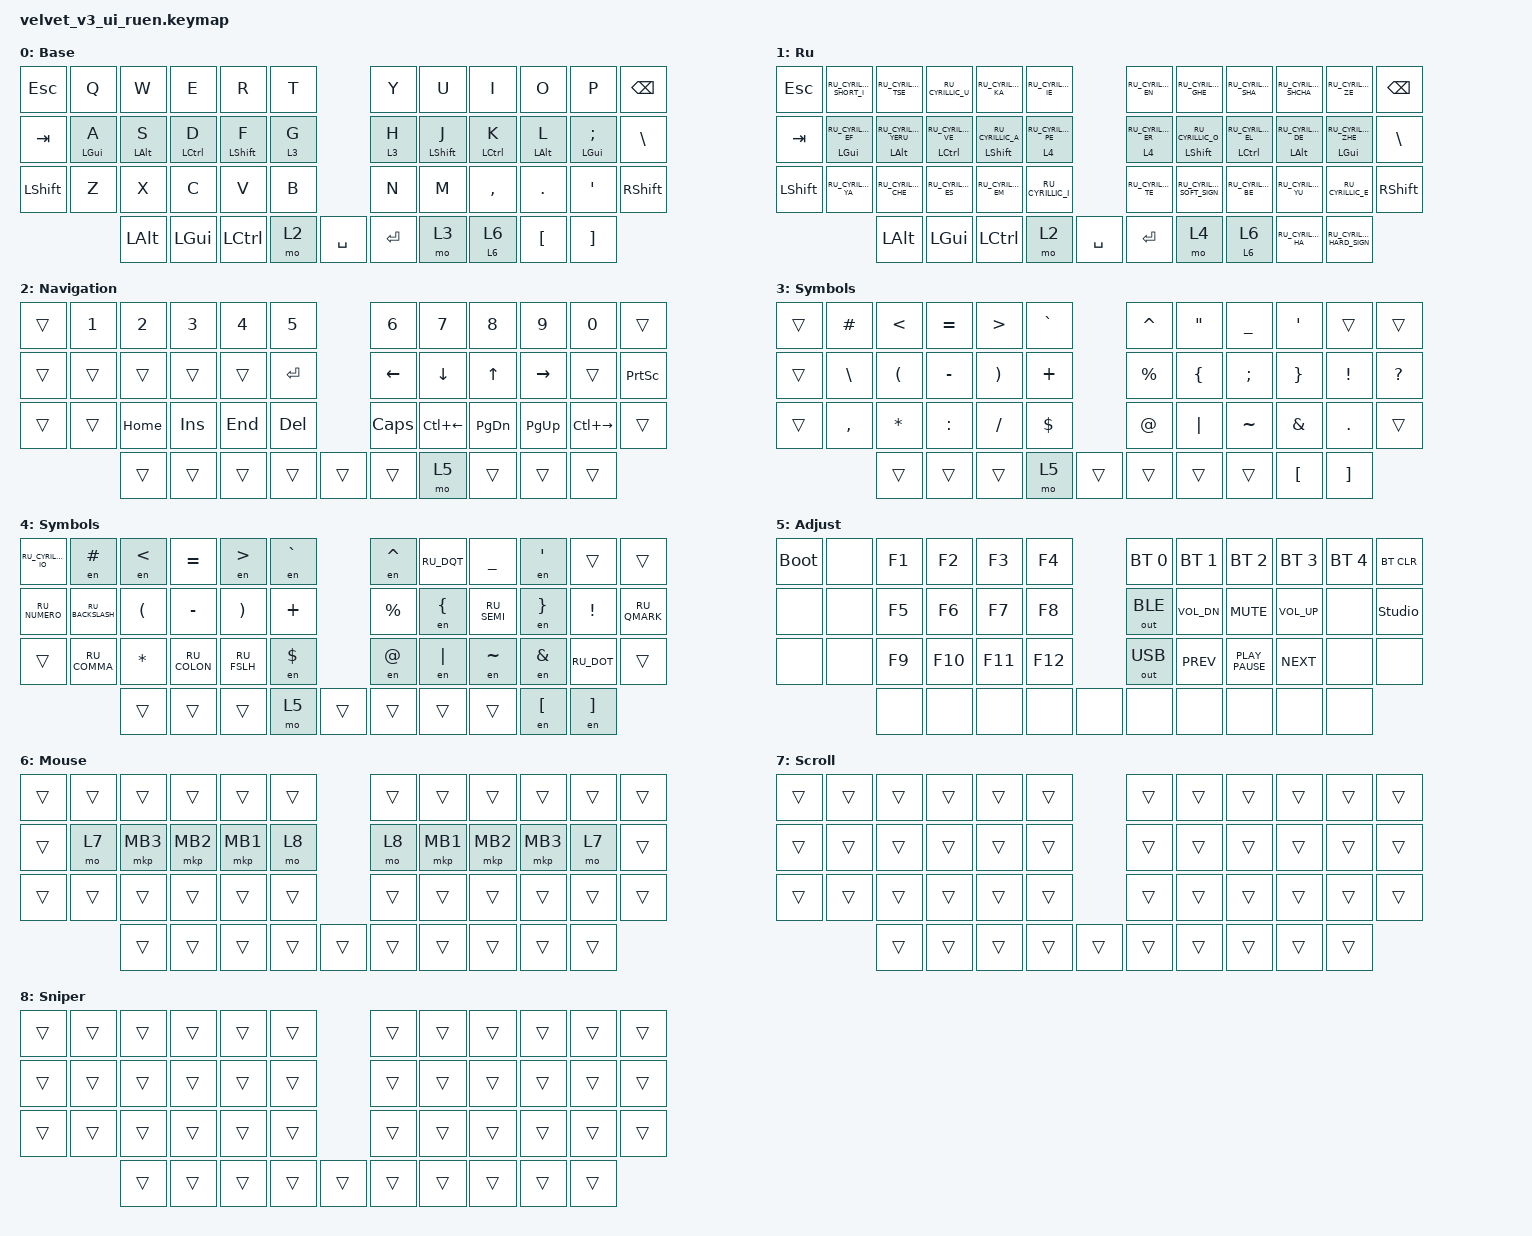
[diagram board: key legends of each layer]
#include "keys_ru.h"
#include <dt-bindings/zmk/input_transform.h>
#include <input/processors.dtsi>
#include <zephyr/dt-bindings/input/input-event-codes.h>
#include <behaviors.dtsi>
#include <dt-bindings/zmk/bt.h>
#include <dt-bindings/zmk/keys.h>
#include <dt-bindings/zmk/outputs.h>
#include <dt-bindings/zmk/pointing.h>

&mmv { acceleration-exponent = <800>; };

/ {
    behaviors {
        cap_sen: cap_sen {
            compatible = "zmk,behavior-hold-tap";
            label = "CAP_SEN";
            bindings = <&mo>, <&mo>;

            #binding-cells = <2>;
            tapping-term-ms = <150>;
            hold-while-undecided;
        };

        hrm: hrm {
            compatible = "zmk,behavior-hold-tap";
            label = "HRM";
            bindings = <&kp>, <&kp>;

            #binding-cells = <2>;
            tapping-term-ms = <200>;
            flavor = "balanced";
        };

        hrm_for_layer: hrm_for_layer {
            compatible = "zmk,behavior-hold-tap";
            label = "HRM_FOR_LAYER";
            bindings = <&mo>, <&kp>;

            #binding-cells = <2>;
            tapping-term-ms = <200>;
            flavor = "balanced";
        };
    };

    combos {
        compatible = "zmk,combos";

        cmben {
            bindings = <&layer_en>;
            key-positions = <7 8>;
            layers = <1>;
        };

        cmbru {
            bindings = <&layer_ru>;
            key-positions = <3 4>;
            layers = <0>;
        };
    };

    macros {
        to_ru: to_ru {
            compatible = "zmk,behavior-macro";
            #binding-cells = <0>;
            bindings = <&kp LS(LC(N2))>;
            label = "TO_RU";
            wait-ms = <0>;
            tap-ms = <30>;
        };

        to_en: to_en {
            compatible = "zmk,behavior-macro";
            #binding-cells = <0>;
            bindings = <&kp LS(LC(N1))>;
            label = "TO_EN";
            wait-ms = <0>;
            tap-ms = <30>;
        };

        layer_en: layer_en {
            compatible = "zmk,behavior-macro";
            #binding-cells = <0>;
            bindings = <&to 0 &to_en>;
            label = "LAYER_EN";
            wait-ms = <0>;
            tap-ms = <30>;
        };

        layer_ru: layer_ru {
            compatible = "zmk,behavior-macro";
            #binding-cells = <0>;
            bindings = <&to 1 &to_ru>;
            label = "LAYER_RU";
            tap-ms = <30>;
            wait-ms = <0>;
        };

        en: en {
            compatible = "zmk,behavior-macro-one-param";
            #binding-cells = <1>;
            bindings =
                <&to_en>,
                <&macro_press>,
                <&macro_param_1to1 &kp MACRO_PLACEHOLDER>,
                <&macro_pause_for_release>,
                <&macro_release>,
                <&macro_param_1to1 &kp MACRO_PLACEHOLDER>,
                <&macro_tap>,
                <&to_ru>;

            label = "EN";
            wait-ms = <0>;
            tap-ms = <30>;
        };
    };

    keymap {
        compatible = "zmk,keymap";

        en {
            bindings = <
&kp ESC    &kp Q            &kp W            &kp E         &kp R              &kp T                                     &kp Y               &kp U              &kp I         &kp O            &kp P               &kp BSPC
&kp TAB    &hrm LEFT_GUI A  &hrm LEFT_ALT S  &hrm LCTRL D  &hrm LEFT_SHIFT F  &hrm_for_layer 3 G                        &hrm_for_layer 3 H  &hrm LEFT_SHIFT J  &hrm LCTRL K  &hrm LEFT_ALT L  &hrm LEFT_GUI SEMI  &kp BSLH
&kp LSHFT  &kp Z            &kp X            &kp C         &kp V              &kp B                                     &kp N               &kp M              &kp COMMA     &kp DOT          &kp SQT             &kp RSHFT
                            &kp LALT         &kp LGUI      &kp LCTRL          &mo 2               &kp SPACE    &kp RET  &mo 3               &cap_sen 6 6       &kp LBKT      &kp RBKT
            >;

            display-name = "Base";
        };

        ru {
            display-name = "Ru";
            bindings = <
&kp ESC    &kp RU_CYRILLIC_SHORT_I       &kp RU_CYRILLIC_TSE             &kp RU_CYRILLIC_U          &kp RU_CYRILLIC_KA             &kp RU_CYRILLIC_IE                                     &kp RU_CYRILLIC_EN               &kp RU_CYRILLIC_GHE            &kp RU_CYRILLIC_SHA        &kp RU_CYRILLIC_SHCHA         &kp RU_CYRILLIC_ZE             &kp BSPC
&kp TAB    &hrm LEFT_GUI RU_CYRILLIC_EF  &hrm LEFT_ALT RU_CYRILLIC_YERU  &hrm LCTRL RU_CYRILLIC_VE  &hrm LEFT_SHIFT RU_CYRILLIC_A  &hrm_for_layer 4 RU_CYRILLIC_PE                        &hrm_for_layer 4 RU_CYRILLIC_ER  &hrm LEFT_SHIFT RU_CYRILLIC_O  &hrm LCTRL RU_CYRILLIC_EL  &hrm LEFT_ALT RU_CYRILLIC_DE  &hrm LEFT_GUI RU_CYRILLIC_ZHE  &kp BSLH
&kp LSHFT  &kp RU_CYRILLIC_YA            &kp RU_CYRILLIC_CHE             &kp RU_CYRILLIC_ES         &kp RU_CYRILLIC_EM             &kp RU_CYRILLIC_I                                      &kp RU_CYRILLIC_TE               &kp RU_CYRILLIC_SOFT_SIGN      &kp RU_CYRILLIC_BE         &kp RU_CYRILLIC_YU            &kp RU_CYRILLIC_E              &kp RSHFT
                                         &kp LALT                        &kp LGUI                   &kp LCTRL                      &mo 2                            &kp SPACE    &kp RET  &mo 4                            &cap_sen 6 6                   &kp RU_CYRILLIC_HA         &kp RU_CYRILLIC_HARD_SIGN
            >;
        };

        nav {
            bindings = <
&trans  &kp N1  &kp N2    &kp N3   &kp N4   &kp N5                     &kp N6    &kp N7        &kp N8         &kp N9       &kp N0         &trans
&trans  &trans  &trans    &trans   &trans   &kp RET                    &kp LEFT  &kp DOWN      &kp UP         &kp RIGHT    &trans         &kp PRINTSCREEN
&trans  &trans  &kp HOME  &kp INS  &kp END  &kp DEL                    &kp CLCK  &kp LC(LEFT)  &kp PAGE_DOWN  &kp PAGE_UP  &kp LC(RIGHT)  &trans
                &trans    &trans   &trans   &trans   &trans    &trans  &mo 5     &trans        &trans         &trans
            >;

            display-name = "Navigation";
        };

        sym_en {
            bindings = <
&trans  &kp HASH   &kp LT    &kp EQUAL  &kp GT    &kp GRAVE                    &kp CARET  &kp DQT   &kp UNDER  &kp SQT   &trans    &trans
&trans  &kp BSLH   &kp LPAR  &kp MINUS  &kp RPAR  &kp PLUS                     &kp PRCNT  &kp LBRC  &kp SEMI   &kp RBRC  &kp EXCL  &kp QUESTION
&trans  &kp COMMA  &kp STAR  &kp COLON  &kp FSLH  &kp DLLR                     &kp AT     &kp PIPE  &kp TILDE  &kp AMPS  &kp DOT   &trans
                   &trans    &trans     &trans    &mo 5      &trans    &trans  &trans     &trans    &kp LBKT   &kp RBKT
            >;

            display-name = "Symbols";
        };

        sym_ru {
            display-name = "Symbols";
            bindings = <
&kp RU_CYRILLIC_IO  &en HASH          &en LT    &kp EQUAL     &en GT       &en GRAVE                    &en CARET  &kp RU_DQT  &kp UNDER    &en SQT   &trans      &trans
&kp RU_NUMERO       &kp RU_BACKSLASH  &kp LPAR  &kp MINUS     &kp RPAR     &kp PLUS                     &kp PRCNT  &en LBRC    &kp RU_SEMI  &en RBRC  &kp EXCL    &kp RU_QMARK
&trans              &kp RU_COMMA      &kp STAR  &kp RU_COLON  &kp RU_FSLH  &en DLLR                     &en AT     &en PIPE    &en TILDE    &en AMPS  &kp RU_DOT  &trans
                                      &trans    &trans        &trans       &mo 5      &trans    &trans  &trans     &trans      &en LBKT     &en RBKT
            >;
        };

        adj {
            bindings = <
&bootloader  &none  &kp F1  &kp F2   &kp F3   &kp F4                   &bt BT_SEL 0  &bt BT_SEL 1  &bt BT_SEL 2      &bt BT_SEL 3  &bt BT_SEL 4  &bt BT_CLR
&none        &none  &kp F5  &kp F6   &kp F7   &kp F8                   &out OUT_BLE  &kp C_VOL_DN  &kp K_MUTE        &kp C_VOL_UP  &none         &studio_unlock
&none        &none  &kp F9  &kp F10  &kp F11  &kp F12                  &out OUT_USB  &kp K_PREV    &kp K_PLAY_PAUSE  &kp K_NEXT    &none         &none
                    &none   &none    &none    &none    &none    &none  &none         &none         &none             &none
            >;

            display-name = "Adjust";
        };

        mouse {
            bindings = <
&trans  &trans  &trans    &trans    &trans    &trans                    &trans  &trans    &trans    &trans    &trans  &trans
&trans  &mo 7   &mkp MB3  &mkp MB2  &mkp MB1  &mo 8                     &mo 8   &mkp MB1  &mkp MB2  &mkp MB3  &mo 7   &trans
&trans  &trans  &trans    &trans    &trans    &trans                    &trans  &trans    &trans    &trans    &trans  &trans
                &trans    &trans    &trans    &trans  &trans    &trans  &trans  &trans    &trans    &trans
            >;

            display-name = "Mouse";
        };

        scroll {
            bindings = <
&trans  &trans  &trans  &trans  &trans  &trans                    &trans  &trans  &trans  &trans  &trans  &trans
&trans  &trans  &trans  &trans  &trans  &trans                    &trans  &trans  &trans  &trans  &trans  &trans
&trans  &trans  &trans  &trans  &trans  &trans                    &trans  &trans  &trans  &trans  &trans  &trans
                &trans  &trans  &trans  &trans  &trans    &trans  &trans  &trans  &trans  &trans
            >;

            display-name = "Scroll";
        };

        sniper {
            bindings = <
&trans  &trans  &trans  &trans  &trans  &trans                    &trans  &trans  &trans  &trans  &trans  &trans
&trans  &trans  &trans  &trans  &trans  &trans                    &trans  &trans  &trans  &trans  &trans  &trans
&trans  &trans  &trans  &trans  &trans  &trans                    &trans  &trans  &trans  &trans  &trans  &trans
                &trans  &trans  &trans  &trans  &trans    &trans  &trans  &trans  &trans  &trans
            >;

            display-name = "Sniper";
        };
    };
};

&trackball { cpi = <2500>; };

&trackball_listener {
    input-processors = <&zip_xy_scaler 9 20>;

    scroller {
        layers = <7>;
        input-processors =
            <&zip_xy_transform INPUT_TRANSFORM_Y_INVERT>,
            <&zip_xy_scaler 1 64>,
            <&zip_xy_to_scroll_mapper>;
    };

    sniper {
        layers = <8>;
        input-processors = <&zip_xy_scaler 1 4>;
    };
};
